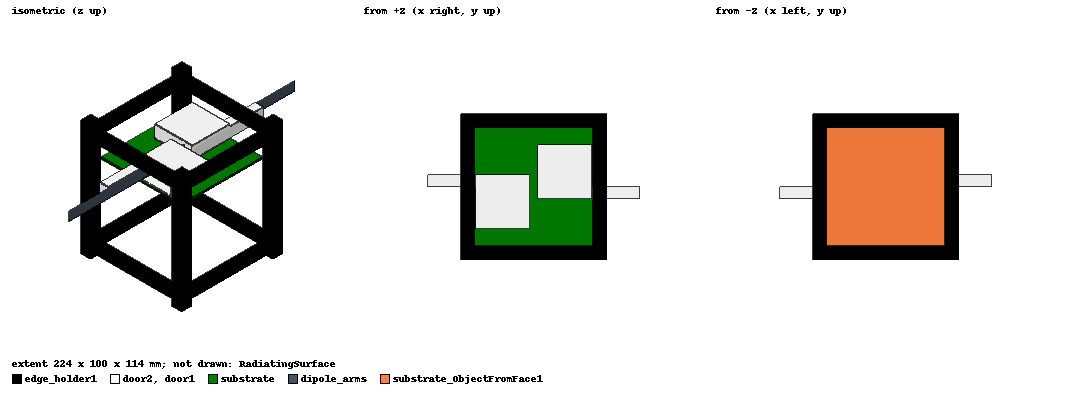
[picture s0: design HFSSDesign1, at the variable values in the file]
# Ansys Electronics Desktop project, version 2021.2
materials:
  vacuum: permittivity=1
  FR4_epoxy: permittivity=4.4 dielectric_loss_tangent=0.02
  PLA: permittivity=2.547 dielectric_loss_tangent=0.0071
  copper: permeability=0.999991 conductivity=58000000
  polyethylene: permittivity=2.25 dielectric_loss_tangent=0.001

design HFSSDesign1 (HFSS, DrivenModal, model units mm)
options: Allow_Material_Override Calculate_Lossy_Dielectrics
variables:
  w = 9mm  # dipole width
  t = 0.2mm  # dipole thickness
  l = 112mm  # dipole arm length
  h = 1.524mm  # substrate height
  sub = 80mm  # substrate dimensions
  dgap = 5mm  # dipole arms gap
  c = 100mm  # cubesat dimensions
  tw = 5mm  # walls thickness
  dt = 8mm  # door thickness
  dl = 70mm  # door length
  d = 37mm  # door box dimensions
  dbt = 0.5mm  # door bot thickness
  dtt = 2mm  # door top thickness
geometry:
  substrate [FR4_epoxy] = box(corner=((-sub/2), (-sub/2), -h), size=(sub, sub, h))
  dipole_arms [copper] = box(corner=(-l, -t/2, dbt), size=(2*l, t, w))
  dipole_gap = box(corner=(-dgap/2, -t/2, dbt), size=(dgap, t, w))
  dipole_arms.subtract(dipole_gap)
  substrate_ObjectFromFace1 [copper] = object_from(substrate.face(-z))
  substrate_ObjectFromFace1.thicken(0.036mm)
  Port = rectangle(corner=(-dgap/2, -t/2, dbt), z_size=w, x_size=dgap)
  edge_holder1 [PLA] = box(corner=(-(c)/2, -(c)/2, -c+h+0.036mm+w+7mm), size=((c-sub)/2, (c-sub)/2, c+14mm))
  top = box(corner=((-c/2), (-c/2), w+2*tw), size=(c, c, tw))
  bot = box(corner=((-c/2), (-c/2), w+3*tw-c), size=(c, c, tw))
  edge_holder2 = box(corner=(-(c)/2, (c)/2, -c+h+0.036mm+w+7mm), size=((c-sub)/2, -(c-sub)/2, c+14mm))
  edge_holder3 = box(corner=((c)/2, -(c)/2, -c+h+0.036mm+w+7mm), size=(-(c-sub)/2, (c-sub)/2, c+14mm))
  edge_holder4 = box(corner=((c)/2, (c)/2, -c+h+0.036mm+w+7mm), size=(-(c-sub)/2, -(c-sub)/2, c+14mm))
  bot_gap = box(corner=((-sub/2), (-sub/2), w+3*tw-c), size=(sub, sub, tw))
  bot.subtract(bot_gap)
  top_gap = box(corner=((-sub/2), (-sub/2), w+2*tw), size=(sub, sub, tw))
  top.subtract(top_gap)
  door1 [PLA] = box(corner=(dgap/2, -t/2-dt, dbt), size=(dl, dt, w+1mm))
  door1_bot = box(corner=(dgap/2, -t/2-dt, 0), size=(d, d, dbt))
  door1_top = box(corner=(dgap/2, -t/2-dt, dbt+w+1mm), size=(d, d, dtt))
  door1_back = box(corner=(dgap/2, -t/2-dt, 0), size=(dt, d, dbt+w+1mm))
  door_side = box(corner=(dgap/2, -t/2-dt+d-dbt, dbt), size=(d, dbt, w+1mm))
  door1.unite(door1_back, door1_bot, door1_top, door_side)
  edge_holder1.unite(edge_holder2, edge_holder3, edge_holder4, top, bot)
  door2 [PLA] = box(corner=(-dgap/2-dl, t/2, dbt), size=(dl, dt, w+1mm))
  door2_bot = box(corner=(-dgap/2-d, dt-d, 0), size=(d, d, dbt))
  door2_top = box(corner=(-dgap/2-d, dt-d, dbt+w+1mm), size=(d, d, dtt))
  door2_back = box(corner=(-dgap/2-dt, dt-d, 0), size=(dt, d, dbt+w+1mm))
  door2_side = box(corner=(-dgap/2-d, -t/2+dt-d+dbt, dbt), size=(d, dbt, w+1mm))
  door2.unite(door2_top, door2_side, door2_bot, door2_back)
  RadiatingSurface [vacuum] = region(absolute_offset=115.20737mm on all sides)
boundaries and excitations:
  Open1: Radiation Objects=RadiatingSurface
  Port: Lumped Port Objects=Port Modes{Mode1{IntLine{middle of Port.edge(x opposite corner) -> middle of Port.edge(x at corner)} CharImp=Zpi RenormImp=50ohm}} Impedance=50ohm
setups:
  LoRa: HfssDriven Frequency=868MHz MaxDeltaS=0.02 MaximumPasses=15 MinimumPasses=1 MinimumConvergedPasses=2 PercentRefinement=30 BasisOrder=1 PortAccuracy=2 ConstantDelta=0s
    sweep LoRa: 0GHz to 1.5GHz, 501 points; Type=Interpolating SaveFields InterpTolerance=0.5 InterpMaxSolns=250 MinSolvedFreq=0.01GHz InterpUsePortImped=false PassivityErrorTolerance=0.0001
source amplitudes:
  Port:1: 1W 0deg
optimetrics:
  ParametricSetup1: Parametric Sim._Setups=[LoRa]
    sweep l: LIN 88mm 92mm 1mm
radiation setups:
  3D: Infinite Sphere Theta=0deg..180deg step 2deg Phi=-180deg..180deg step 2deg
  Elevation: Infinite Sphere Theta=-180deg..180deg step 1deg Phi=0deg..90deg step 90deg
  Azimuth: Infinite Sphere Theta=90deg..90deg step 0deg Phi=-180deg..180deg step 1deg
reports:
  S Parameter Plot 1: dB(S(Port,Port)) vs Freq on LoRa : LoRa [l=92mm]; markers m1 at 0.868GHz, MX1 at x=8.68e+08
  Gain Plot 4: dB(GainTotal) vs Phi, Theta on LoRa : LastAdaptive, 3D [Freq=0.868GHz]
  Z Parameter Plot 1: re(Z(Port,Port)), im(Z(Port,Port)) vs Freq on LoRa : LoRa [l=92mm]; markers MX1 at x=8.68e+08
